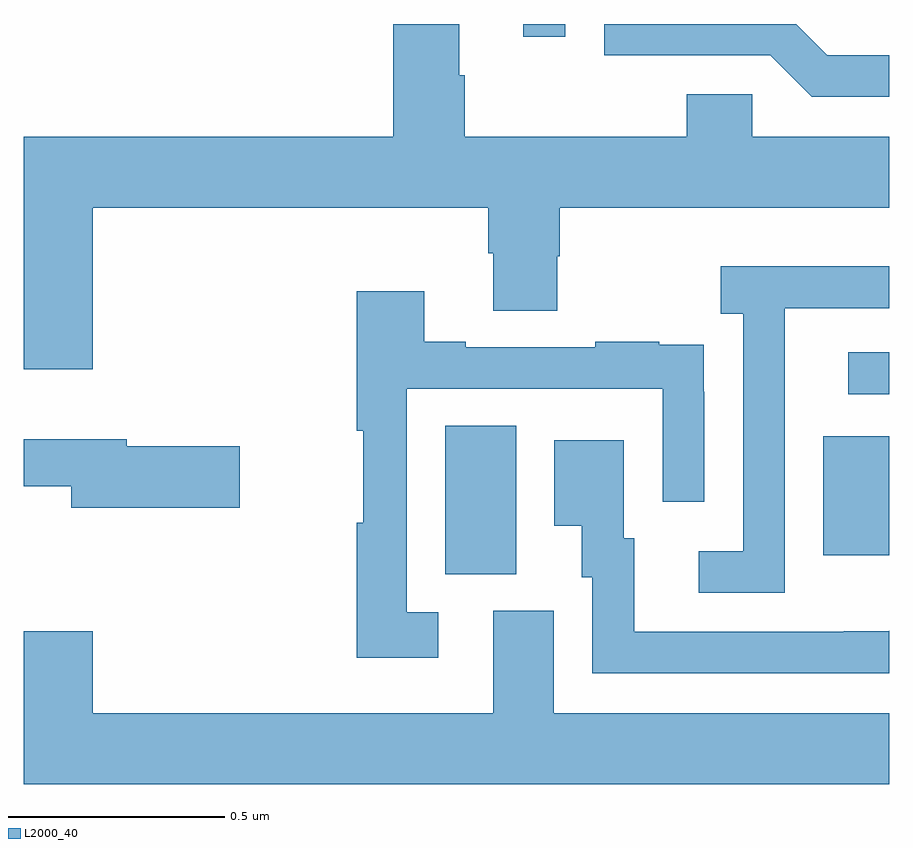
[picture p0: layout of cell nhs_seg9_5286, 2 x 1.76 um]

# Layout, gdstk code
import gdstk
lib = gdstk.Library(unit=1e-6, precision=1e-09)
def R(c, l, rs):  # rectangles x0, y0, x1, y1
    for r in rs: c.add(gdstk.rectangle(r[:2], r[2:], *l))
def P(c, l, *ps):  # polygons
    for p in ps: c.add(gdstk.Polygon(p, *l))
L2000_40 = (2000, 40)

nhs_seg9_5286 = lib.new_cell('nhs_seg9_5286')
R(nhs_seg9_5286, L2000_40, [(177.974,1206.229,178.138,1206.572), (178.847,1206.273,179,1206.547), (178.905,1206.645,179,1206.741), (178.154,1207.47,178.251,1207.5)])
P(nhs_seg9_5286, L2000_40, [(179,1207.428),(178.857,1207.428),(178.785,1207.5),(178.341,1207.5),(178.341,1207.428),(178.725,1207.428),(178.821,1207.332),(179,1207.332)],
  [(177.16,1207.076),(178.073,1207.076),(178.073,1206.97),(178.085,1206.97),(178.085,1206.838),(178.233,1206.838),(178.233,1206.963),(178.238,1206.963),(178.238,1207.076),(179,1207.076),(179,1207.24),(178.683,1207.24),(178.683,1207.338),(178.532,1207.338),(178.532,1207.24),(178.019,1207.24),(178.019,1207.382),(178.006,1207.382),(178.006,1207.5),(177.854,1207.5),(177.854,1207.24),(177,1207.24),(177,1206.702),(177.16,1206.702)],
  [(178.758,1206.643),(178.759,1206.643),(178.759,1206.843),(179,1206.843),(179,1206.94),(178.611,1206.94),(178.611,1206.83),(178.662,1206.83),(178.662,1206.282),(178.56,1206.282),(178.56,1206.186),(178.758,1206.186)],
  [(177.958,1206.141),(177.885,1206.141),(177.885,1206.657),(178.476,1206.657),(178.476,1206.396),(178.572,1206.396),(178.572,1206.65),(178.571,1206.65),(178.571,1206.759),(178.469,1206.759),(178.469,1206.766),(178.321,1206.766),(178.321,1206.753),(178.021,1206.753),(178.021,1206.766),(177.925,1206.766),(177.925,1206.883),(177.769,1206.883),(177.769,1206.56),(177.784,1206.56),(177.784,1206.348),(177.769,1206.348),(177.769,1206.036),(177.958,1206.036)],
  [(177.499,1206.524),(177.238,1206.524),(177.238,1206.541),(177,1206.541),(177,1206.432),(177.11,1206.432),(177.11,1206.382),(177.499,1206.382)],
  [(179,1206.098),(178.999,1206.097),(178.895,1206.097),(178.895,1206.096),(178.411,1206.096),(178.411,1206.312),(178.387,1206.312),(178.387,1206.538),(178.226,1206.538),(178.226,1206.341),(178.289,1206.341),(178.289,1206.222),(178.314,1206.222),(178.314,1206),(179,1206)],
  [(179,1205.908),(178.225,1205.908),(178.225,1206.144),(178.085,1206.144),(178.085,1205.908),(177.16,1205.908),(177.16,1206.097),(177,1206.097),(177,1205.744),(179,1205.744)])

lib.write_gds('nhs_seg9_5286.gds')
